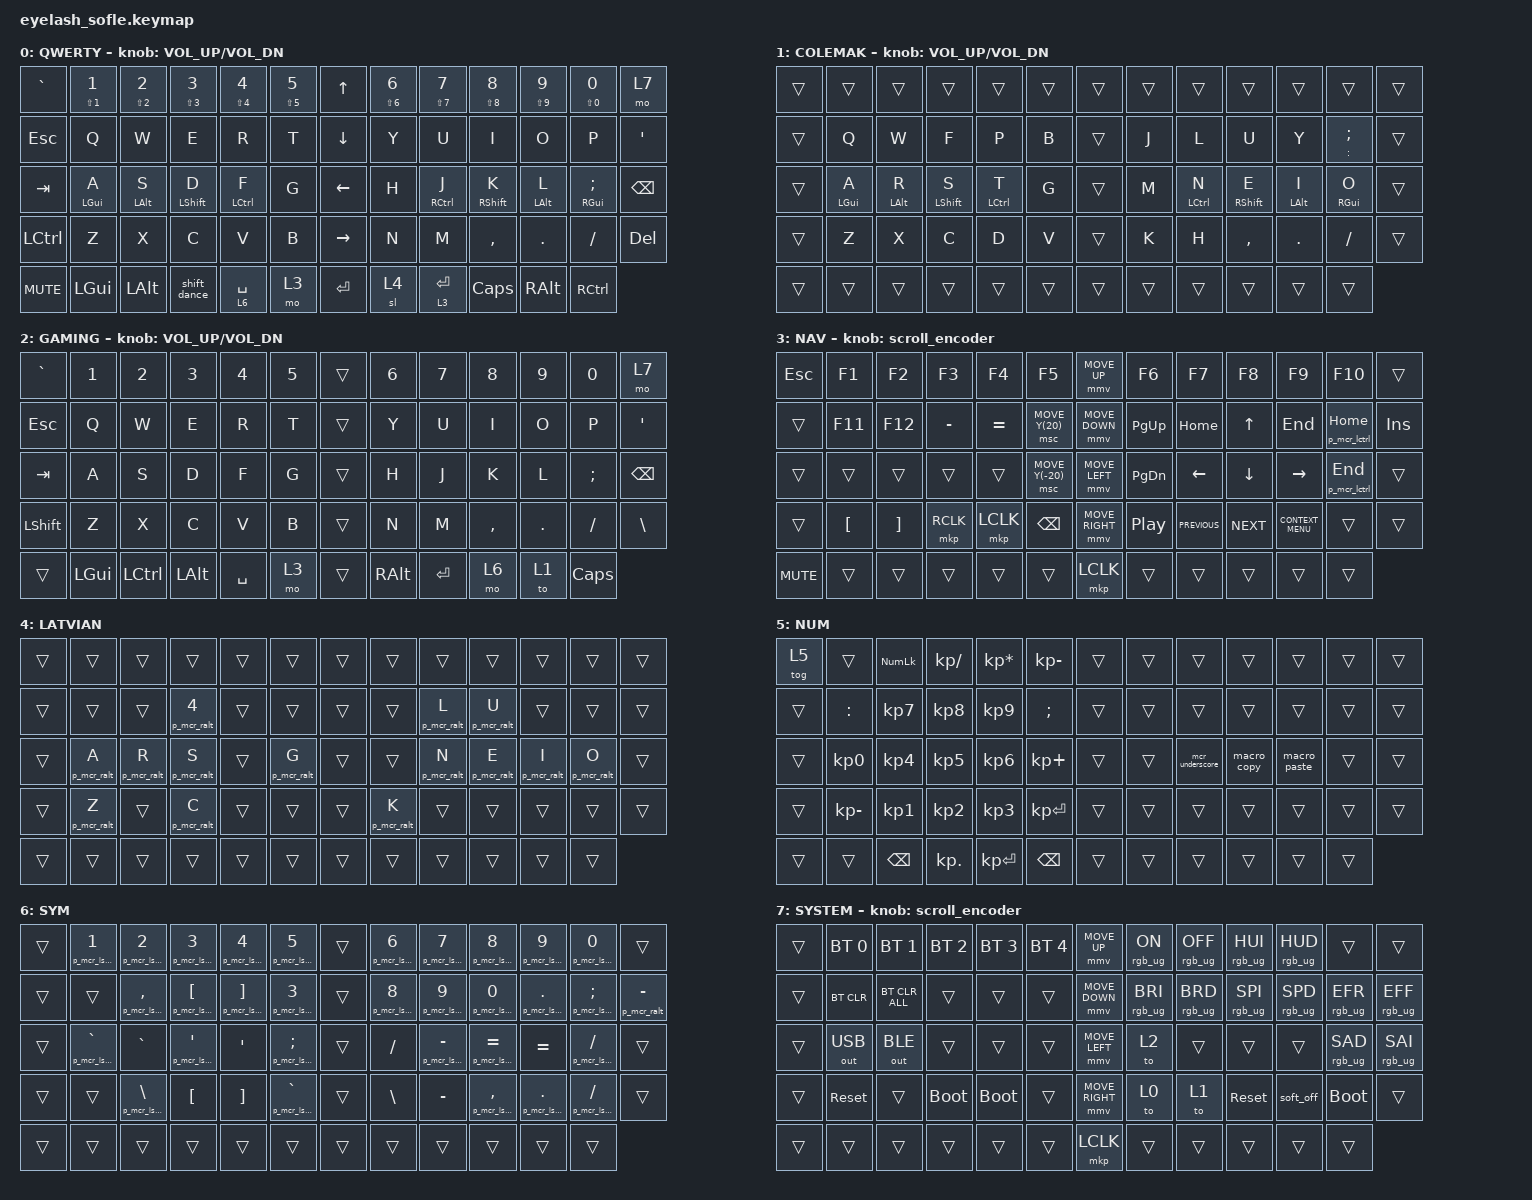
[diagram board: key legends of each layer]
#define ZMK_POINTING_DEFAULT_MOVE_VAL 1200  // 600
#define ZMK_POINTING_DEFAULT_SCRL_VAL 30   // 10

#include <input/processors.dtsi>
#include "zmk-helpers/helper.h"

// custom
//#include "includes/unicode.dtsi"

#include <behaviors.dtsi>
#include <dt-bindings/zmk/bt.h>
#include <dt-bindings/zmk/keys.h>
#include <dt-bindings/zmk/outputs.h>
#include <dt-bindings/zmk/pointing.h>
#include <dt-bindings/zmk/rgb.h>

&mmv_input_listener { input-processors = <&zip_xy_scaler 2 1>; };

&msc_input_listener { input-processors = <&zip_scroll_scaler 2 1>; };

&msc {
    acceleration-exponent = <0>;      // 0
    time-to-max-speed-ms = <300>;       // 300
    delay-ms = <0>;                   // 0
};

&mmv {
    time-to-max-speed-ms = <500>;
    acceleration-exponent = <1>;
    trigger-period-ms = <16>;
};

/ {
    behaviors {
        mmv {
            time-to-max-speed-ms = <500>;
            acceleration-exponent = <1>;
            trigger-period-ms = <16>;
        };

        msc {
            acceleration-exponent = <1>;      // 0
            time-to-max-speed-ms = <100>;       // 300
            delay-ms = <0>;                   // 0
        };

        // https://github.com/urob/zmk-config#timeless-homerow-mods

        hm_l: homerow_mods_left {
            compatible = "zmk,behavior-hold-tap";
            #binding-cells = <2>;
            bindings = <&kp>, <&kp>;

            flavor = "balanced";
            tapping-term-ms = <300>;
            quick-tap-ms = <175>;                // repeat on tap-into-hold
            require-prior-idle-ms = <150>;
            hold-trigger-key-positions = <7 8 9 10 11 12 20 21 22 23 24 25 33 34 35 36 37 38 46 47 48 49 50 51 53 54 55 56 57 60 61 62 63>;
            hold-trigger-on-release;
        };

        hm_r: homerow_mods_right {
            compatible = "zmk,behavior-hold-tap";
            #binding-cells = <2>;
            bindings = <&kp>, <&kp>;

            flavor = "balanced";
            tapping-term-ms = <300>;
            quick-tap-ms = <175>;
            require-prior-idle-ms = <150>;
            hold-trigger-key-positions = <0 1 2 3 4 5 13 14 15 16 17 18 26 27 28 29 30 31 39 40 41 42 43 44 53 54 55 56 57 60 61 62 63>;
            hold-trigger-on-release;
        };

        num_tap: num_tap {
            compatible = "zmk,behavior-hold-tap";
            label = "NUM_TAP";
            bindings = <&kp>, <&kp>;

            #binding-cells = <2>;
            tapping-term-ms = <250>;
            flavor = "balanced";
        };

        shift_dance: shift_dance {
            compatible = "zmk,behavior-tap-dance";
            label = "SHIFT_DANCE";
            #binding-cells = <0>;
            bindings = <&longer_sticky LSHFT>, <&caps_word>;

            tapping-term-ms = <300>;
        };

        shift_dance_right: shift_dance_right {
            compatible = "zmk,behavior-tap-dance";
            label = "SHIFT_DANCE_RIGHT";
            #binding-cells = <0>;
            bindings = <&longer_sticky RSHIFT>, <&caps_word>;

            tapping-term-ms = <200>;
        };

        td_gui_caps_lock: td_gui_caps_lock {
            compatible = "zmk,behavior-tap-dance";
            label = "TD_GUI_CAPS_LOCK";
            #binding-cells = <0>;
            bindings = <&kp LGUI>, <&kp CAPS>;
        };

        caps_word_cust: caps_word_cust {
            compatible = "zmk,behavior-caps-word";
            label = "CAPS_WORD_CUST";
            #binding-cells = <0>;
            continue-list = <UNDERSCORE BACKSPACE DELETE MINUS>;
            mods = <(MOD_LSFT|MOD_RSFT)>;
        };

        longer_sticky: longer_sticky {
            compatible = "zmk,behavior-sticky-key";
            label = "LONGER_STICKY";
            bindings = <&sk>;
            #binding-cells = <1>;
            release-after-ms = <10000>;
            ignore-modifiers;
            quick-release;
        };

        lt_q: lt_q {
            compatible = "zmk,behavior-hold-tap";
            label = "LT_Q";
            bindings = <&mo>, <&kp>;

            #binding-cells = <2>;
            tapping-term-ms = <200>;
            flavor = "hold-preferred";
        };
    };

    scroll_encoder: scroll_encoder {
        compatible = "zmk,behavior-sensor-rotate";
        #sensor-binding-cells = <0>;
        bindings = <&msc SCRL_DOWN>, <&msc SCRL_UP>;

        tap-ms = <100>;
    };

    combos {
        compatible = "zmk,combos";

        enter {
            bindings = <&kp ENTER>;
            key-positions = <31 30>;
            layers = <0 1>;
            timeout-ms = <50>;
            require-prior-idle-ms = <150>;
        };

        copy {
            bindings = <&p_mcr_lctrl C>;
            key-positions = <41 42>;
            layers = <0 1>;
            timeout-ms = <70>;
            require-prior-idle-ms = <150>;
        };

        paste {
            bindings = <&p_mcr_lctrl V>;
            key-positions = <42 43>;
            layers = <0 1>;
            timeout-ms = <40>;
        };

        cut {
            bindings = <&p_mcr_lctrl X>;
            key-positions = <43 41>;
            layers = <0 1>;
            timeout-ms = <70>;
            require-prior-idle-ms = <150>;
        };

        paste_list {
            bindings = <&p_mcr_lalt V>;
            key-positions = <44 43>;
            layers = <0 1>;
            timeout-ms = <70>;
            require-prior-idle-ms = <150>;
        };

        num_layer {
            bindings = <&tog 5>;
            key-positions = <31 44>;
            layers = <0 1>;
        };
    };

    macros {
        macro_copy: macro_copy {
            compatible = "zmk,behavior-macro";
            #binding-cells = <0>;
            bindings =
                <&macro_press>,
                <&kp LCTRL>,
                <&macro_tap>,
                <&kp C>,
                <&macro_release>,
                <&kp LCTRL>;

            label = "MACRO_COPY";
        };

        macro_paste: macro_paste {
            compatible = "zmk,behavior-macro";
            #binding-cells = <0>;
            bindings =
                <&macro_press>,
                <&kp LCTRL>,
                <&macro_tap>,
                <&kp V>,
                <&macro_release>,
                <&kp LCTRL>;

            label = "MACRO_PASTE";
        };

        mcr_underscore: mcr_underscore {
            compatible = "zmk,behavior-macro";
            #binding-cells = <0>;
            bindings =
                <&macro_press>,
                <&kp LSHIFT>,
                <&macro_tap>,
                <&kp MINUS>,
                <&macro_release>,
                <&kp LSHIFT>;

            label = "MCR_UNDERSCORE";
        };

        p_mcr_ralt: p_mcr_ralt {
            compatible = "zmk,behavior-macro-one-param";
            #binding-cells = <1>;
            bindings =
                <&macro_press>,
                <&kp RALT>,
                <&macro_tap>,
                <&macro_param_1to1 &kp MACRO_PLACEHOLDER>,
                <&macro_release>,
                <&kp RALT>;

            label = "P_MCR_RALT";
        };

        p_mcr_lalt: p_mcr_lalt {
            compatible = "zmk,behavior-macro-one-param";
            #binding-cells = <1>;
            bindings =
                <&macro_press>,
                <&kp LALT>,
                <&macro_tap>,
                <&macro_param_1to1 &kp MACRO_PLACEHOLDER>,
                <&macro_release>,
                <&kp LALT>;

            label = "P_MCR_LALT";
        };

        p_mcr_lshift: p_mcr_lshift {
            compatible = "zmk,behavior-macro-one-param";
            #binding-cells = <1>;
            bindings =
                <&macro_press>,
                <&kp LSHIFT>,
                <&macro_tap>,
                <&macro_param_1to1 &kp MACRO_PLACEHOLDER>,
                <&macro_release>,
                <&kp LSHIFT>;

            label = "P_MCR_LSHIFT";
        };

        p_mcr_lctrl: p_mcr_lctrl {
            compatible = "zmk,behavior-macro-one-param";
            #binding-cells = <1>;
            bindings =
                <&macro_press>,
                <&kp LCTRL>,
                <&macro_tap>,
                <&macro_param_1to1 &kp MACRO_PLACEHOLDER>,
                <&macro_release>,
                <&kp LCTRL>;

            label = "P_MCR_LCTRL";
        };
    };

    keymap {
        compatible = "zmk,keymap";

        QWERTY {
            bindings = <
&kp GRAVE   &num_tap LS(N1) N1  &num_tap LS(N2) N2  &num_tap LS(N3) N3  &num_tap LS(N4) N4  &num_tap LS(N5) N5    &kp UP_ARROW     &num_tap LS(N6) N6  &num_tap LS(N7) N7  &num_tap LS(N8) N8  &num_tap LS(N9) N9  &num_tap LS(N0) N0    &mo 7
&kp ESC     &kp Q               &kp W               &kp E               &kp R               &kp T                 &kp DOWN_ARROW   &kp Y               &kp U               &kp I               &kp O               &kp P                 &kp APOS
&kp TAB     &hm_l LEFT_GUI A    &hm_l LEFT_ALT S    &hm_l LSHIFT D      &hm_l LCTRL F       &kp G                 &kp LEFT_ARROW   &kp H               &hm_r RCTRL J       &hm_r RSHIFT K      &hm_r LALT L        &hm_r RIGHT_GUI SEMI  &kp BACKSPACE
&kp LCTRL   &kp Z               &kp X               &kp C               &kp V               &kp B                 &kp RIGHT_ARROW  &kp N               &kp M               &kp COMMA           &kp DOT             &kp FSLH              &kp DELETE
&kp C_MUTE  &kp LEFT_GUI        &kp LALT            &shift_dance        &lt_q 6 SPACE       &mo 3                 &kp ENTER        &sl 4               &lt 3 ENTER         &kp CAPS            &kp RALT            &kp RCTRL
            >;

            sensor-bindings = <&inc_dec_kp C_VOLUME_UP C_VOL_DN>;
            display-name = "QWERTY";
        };

        COLEMAK {
            bindings = <
&trans  &trans            &trans        &trans          &trans         &trans    &trans  &trans  &trans         &trans          &trans        &trans             &trans
&trans  &kp Q             &kp W         &kp F           &kp P          &kp B     &trans  &kp J   &kp L          &kp U           &kp Y         &mt COLON SEMI     &trans
&trans  &hm_l LEFT_GUI A  &hm_l LALT R  &hm_l LSHIFT S  &hm_l LCTRL T  &kp G     &trans  &kp M   &hm_r LCTRL N  &hm_r RSHIFT E  &hm_r LALT I  &hm_r RIGHT_GUI O  &trans
&trans  &kp Z             &kp X         &kp C           &kp D          &kp V     &trans  &kp K   &kp H          &kp COMMA       &kp DOT       &kp FSLH           &trans
&trans  &trans            &trans        &trans          &trans         &trans    &trans  &trans  &trans         &trans          &trans        &trans
            >;

            sensor-bindings = <&inc_dec_kp C_VOLUME_UP C_VOL_DN>;
            label = "COLEMAK";
        };

        GAMING {
            bindings = <
&kp GRAVE   &kp N1    &kp N2     &kp N3    &kp N4     &kp N5    &trans  &kp N6    &kp N7     &kp N8     &kp N9   &kp N0    &mo 7
&kp ESCAPE  &kp Q     &kp W      &kp E     &kp R      &kp T     &trans  &kp Y     &kp U      &kp I      &kp O    &kp P     &kp SINGLE_QUOTE
&kp TAB     &kp A     &kp S      &kp D     &kp F      &kp G     &trans  &kp H     &kp J      &kp K      &kp L    &kp SEMI  &kp BACKSPACE
&kp LSHFT   &kp Z     &kp X      &kp C     &kp V      &kp B     &trans  &kp N     &kp M      &kp COMMA  &kp DOT  &kp FSLH  &kp BACKSLASH
&trans      &kp LGUI  &kp LCTRL  &kp LALT  &kp SPACE  &mo 3     &trans  &kp RALT  &kp ENTER  &mo 6      &to 1    &kp CAPS
            >;

            label = "GAMING";
            sensor-bindings = <&inc_dec_kp C_VOLUME_UP C_VOL_DN>;
        };

        NAV {
            bindings = <
&kp ESC     &kp F1            &kp F2             &kp F3     &kp F4     &kp F5              &mmv MOVE_UP     &kp F6            &kp F7          &kp F8      &kp F9              &kp F10            &trans
&trans      &kp F11           &kp F12            &kp MINUS  &kp EQUAL  &msc MOVE_Y(20)     &mmv MOVE_DOWN   &kp PG_UP         &kp HOME        &kp UP      &kp END             &p_mcr_lctrl HOME  &kp INS
&trans      &trans            &trans             &trans     &trans     &msc MOVE_Y(-20)    &mmv MOVE_LEFT   &kp PG_DN         &kp LEFT        &kp DOWN    &kp RIGHT           &p_mcr_lctrl END   &trans
&trans      &kp LEFT_BRACKET  &kp RIGHT_BRACKET  &mkp RCLK  &mkp LCLK  &kp BACKSPACE       &mmv MOVE_RIGHT  &kp C_PLAY_PAUSE  &kp C_PREVIOUS  &kp C_NEXT  &kp K_CONTEXT_MENU  &trans             &trans
&kp C_MUTE  &trans            &trans             &trans     &trans     &trans              &mkp LCLK        &trans            &trans          &trans      &trans              &trans
            >;

            display-name = "NAV";
            sensor-bindings = <&scroll_encoder>;
        };

        LATVIAN {
            bindings = <
&trans  &trans         &trans         &trans                &trans  &trans           &trans  &trans         &trans         &trans         &trans         &trans         &trans
&trans  &trans         &trans         &p_mcr_ralt NUMBER_4  &trans  &trans           &trans  &trans         &p_mcr_ralt L  &p_mcr_ralt U  &trans         &trans         &trans
&trans  &p_mcr_ralt A  &p_mcr_ralt R  &p_mcr_ralt S         &trans  &p_mcr_ralt G    &trans  &trans         &p_mcr_ralt N  &p_mcr_ralt E  &p_mcr_ralt I  &p_mcr_ralt O  &trans
&trans  &p_mcr_ralt Z  &trans         &p_mcr_ralt C         &trans  &trans           &trans  &p_mcr_ralt K  &trans         &trans         &trans         &trans         &trans
&trans  &trans         &trans         &trans                &trans  &trans           &trans  &trans         &trans         &trans         &trans         &trans
            >;

            label = "LATVIAN";
        };

        NUM {
            bindings = <
&tog 5  &trans           &kp KP_NUMLOCK   &kp KP_DIVIDE    &kp KP_MULTIPLY  &kp KP_MINUS     &trans  &trans  &trans           &trans       &trans        &trans  &trans
&trans  &kp COLON        &kp KP_NUMBER_7  &kp KP_NUMBER_8  &kp KP_NUMBER_9  &kp SEMICOLON    &trans  &trans  &trans           &trans       &trans        &trans  &trans
&trans  &kp KP_NUMBER_0  &kp KP_NUMBER_4  &kp KP_NUMBER_5  &kp KP_NUMBER_6  &kp KP_PLUS      &trans  &trans  &mcr_underscore  &macro_copy  &macro_paste  &trans  &trans
&trans  &kp KP_MINUS     &kp KP_NUMBER_1  &kp KP_NUMBER_2  &kp KP_NUMBER_3  &kp KP_ENTER     &trans  &trans  &trans           &trans       &trans        &trans  &trans
&trans  &trans           &kp BACKSPACE    &kp KP_DOT       &kp KP_ENTER     &kp BACKSPACE    &trans  &trans  &trans           &trans       &trans        &trans
            >;

            label = "NUM";
        };

        SYM {
            bindings = <
&trans  &p_mcr_lshift N1     &p_mcr_lshift N2         &p_mcr_lshift N3            &p_mcr_lshift N4             &p_mcr_lshift N5           &trans  &p_mcr_lshift N6  &p_mcr_lshift N7     &p_mcr_lshift N8     &p_mcr_lshift N9      &p_mcr_lshift N0         &trans
&trans  &trans               &p_mcr_lshift COMMA      &p_mcr_lshift LBKT          &p_mcr_lshift RIGHT_BRACKET  &p_mcr_lshift N3           &trans  &p_mcr_lshift N8  &p_mcr_lshift N9     &p_mcr_lshift N0     &p_mcr_lshift PERIOD  &p_mcr_lshift SEMICOLON  &p_mcr_ralt MINUS
&trans  &p_mcr_lshift GRAVE  &kp GRAVE                &p_mcr_lshift SINGLE_QUOTE  &kp APOSTROPHE               &p_mcr_lshift SEMICOLON    &trans  &kp FSLH          &p_mcr_lshift MINUS  &p_mcr_lshift EQUAL  &kp EQUAL             &p_mcr_lshift SLASH      &trans
&trans  &trans               &p_mcr_lshift BACKSLASH  &kp LEFT_BRACKET            &kp RIGHT_BRACKET            &p_mcr_lshift GRAVE        &trans  &kp BSLH          &kp MINUS            &p_mcr_lshift COMMA  &p_mcr_lshift PERIOD  &p_mcr_lshift SLASH      &trans
&trans  &trans               &trans                   &trans                      &trans                       &trans                     &trans  &trans            &trans               &trans               &trans                &trans
            >;

            label = "SYM";
        };

        SYSTEM {
            bindings = <
&trans  &bt BT_SEL 0  &bt BT_SEL 1    &bt BT_SEL 2  &bt BT_SEL 3  &bt BT_SEL 4    &mmv MOVE_UP     &rgb_ug RGB_ON   &rgb_ug RGB_OFF  &rgb_ug RGB_HUI  &rgb_ug RGB_HUD  &trans           &trans
&trans  &bt BT_CLR    &bt BT_CLR_ALL  &trans        &trans        &trans          &mmv MOVE_DOWN   &rgb_ug RGB_BRI  &rgb_ug RGB_BRD  &rgb_ug RGB_SPI  &rgb_ug RGB_SPD  &rgb_ug RGB_EFR  &rgb_ug RGB_EFF
&trans  &out OUT_USB  &out OUT_BLE    &trans        &trans        &trans          &mmv MOVE_LEFT   &to 2            &trans           &trans           &trans           &rgb_ug RGB_SAD  &rgb_ug RGB_SAI
&trans  &sys_reset    &trans          &bootloader   &bootloader   &trans          &mmv MOVE_RIGHT  &to 0            &to 1            &sys_reset       &soft_off        &bootloader      &trans
&trans  &trans        &trans          &trans        &trans        &trans          &mkp LCLK        &trans           &trans           &trans           &trans           &trans
            >;

            sensor-bindings = <&scroll_encoder>;
            label = "SYSTEM";
        };
    };
};
